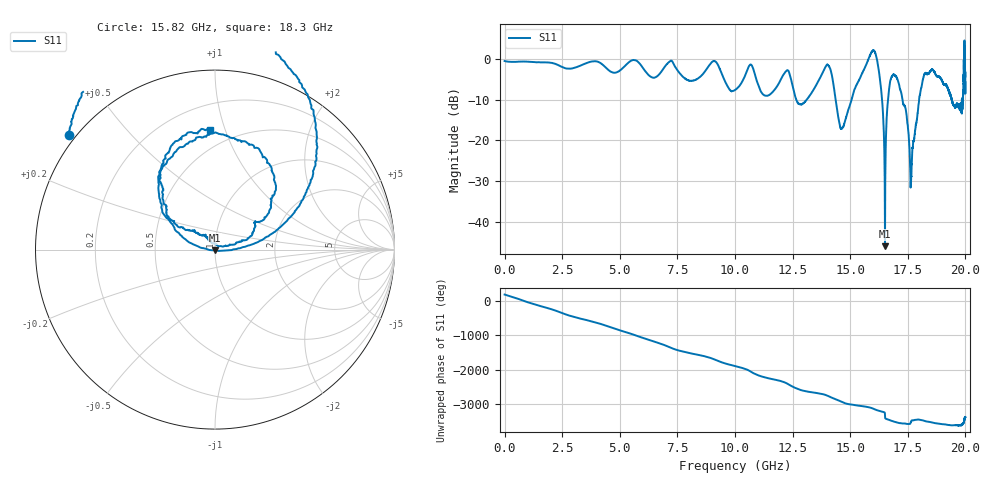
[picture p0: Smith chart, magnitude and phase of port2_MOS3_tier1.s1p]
! Created with skrf 1.8.0 (http://scikit-rf.org).
# GHz S RI R 50.0
!freq ReS11 ImS11
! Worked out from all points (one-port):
!   10001 points, 1 MHz to 20 GHz, reference 50 ohm
!   lowest |S11| = -46.0 dB at 16.51 GHz (marker M1), VSWR 1.01, Z = 50.1 - j0.496 ohm
!   |S11| at or under -10 dB: 12.66 GHz to 13.12 GHz (457.8 MHz wide, 3.55 % of centre); 14.37 GHz to 15.06 GHz (690 MHz wide, 4.69 % of centre); 17.27 GHz to 17.99 GHz (722.5 MHz wide, 4.1 % of centre) (the widest 3 of 9)
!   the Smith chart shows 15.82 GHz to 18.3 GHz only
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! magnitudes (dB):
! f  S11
! 1 MHz  -0.5
! 2.501 GHz  -2.0
! 5.001 GHz  -2.9
! 7.501 GHz  -2.8
! 8.199 GHz  -5.3
! 9.119 GHz  -0.5
! 10 GHz  -7.7
! 10.67 GHz  -1.4
! 11.28 GHz  -9.0
! 12.24 GHz  -2.9
! 12.5 GHz  -6.6
! 12.94 GHz  -11.0
! 14.03 GHz  -1.5
! 14.6 GHz  -17.1
! 15 GHz  -11.2
! 16.03 GHz  2.0
! 16.28 GHz  -4.4
! 16.51 GHz  -46.0
! 16.7 GHz  -7.1
! 16.87 GHz  -3.8
! 17.14 GHz  -7.0
! 17.5 GHz  -16.6
! 17.58 GHz  -23.5
! 17.68 GHz  -24.2
! 18.05 GHz  -7.9
! 18.28 GHz  -3.5
! 19.77 GHz  -11.7
! 20 GHz  -5.7
